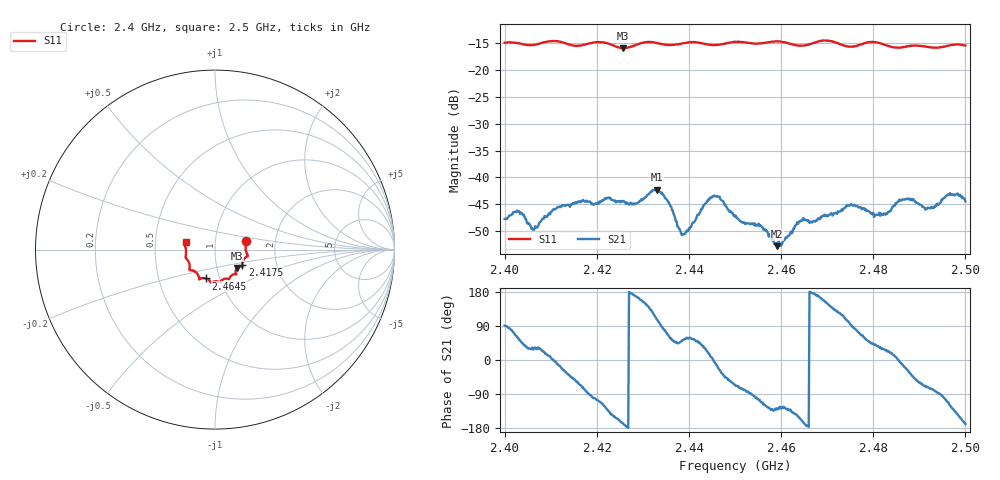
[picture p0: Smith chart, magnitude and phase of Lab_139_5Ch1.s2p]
# Hz S RI R 50
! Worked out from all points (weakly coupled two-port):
!   601 points, 2.4 GHz to 2.5 GHz, reference 50 ohm
!   highest |S21| = -42.30 dB at 2.433 GHz (marker M1); lowest = -52.8 dB at 2.4592 GHz (marker M2)
!   lowest |S11| = -15.9 dB at 2.4257 GHz (marker M3), VSWR 1.38, Z = 62.5 - j13.1 ohm
!   |S11| at or under -10 dB: start of sweep to end of sweep
!   S12 and S22 are empty: the file has one direction only
!   S11 on the Smith chart (normalised r, x): 2.4 GHz: 1.41, +0.14; 2.4175 GHz: 1.33, -0.23; 2.4645 GHz: 0.86, -0.28; 2.5 GHz: 0.72, +0.06
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2.4e9  0.1729 0.0487  -4.78e-05 0.0041  0 0  0 0
2.403167e9  0.174 0.0329  0.00293 0.00382  0 0  0 0
2.4065e9  0.1718 -0.00411  0.0028 0.00181  0 0  0 0
2.411e9  0.1829 -0.0351  0.00505 -0.000434  0 0  0 0
2.416667e9  0.1526 -0.0742  0.00222 -0.0055  0 0  0 0
2.4175e9  0.1516 -0.0834  0.00108 -0.00585  0 0  0 0
2.425667e9  0.1231 -0.1022  -0.00588 -0.00138  0 0  0 0
2.433e9  0.1149 -0.1373  -0.0023 0.00732  0 0  0 0
2.433333e9  0.1131 -0.1368  -0.00155 0.00732  0 0  0 0
2.438667e9  0.0809 -0.1579  0.00183 0.00236  0 0  0 0
2.445167e9  0.0545 -0.1622  0.00669 0.000344  0 0  0 0
2.45e9  0.029 -0.1808  0.00177 -0.00391  0 0  0 0
2.4555e9  -0.00228 -0.1771  -0.00119 -0.00339  0 0  0 0
2.459167e9  -0.0225 -0.1836  -0.0014 -0.00181  0 0  0 0
2.4645e9  -0.0514 -0.1605  -0.00376 -0.00141  0 0  0 0
2.466667e9  -0.0757 -0.1596  -0.00379 0.000178  0 0  0 0
2.474833e9  -0.1045 -0.1279  -0.000749 0.00539  0 0  0 0
2.483333e9  -0.1409 -0.0903  0.00444 0.00188  0 0  0 0
2.486833e9  -0.1542 -0.057  0.0059 -0.0021  0 0  0 0
2.491833e9  -0.1618 -0.0267  0.00161 -0.00497  0 0  0 0
2.4965e9  -0.1679 0.0238  -0.00316 -0.00611  0 0  0 0
2.5e9  -0.1638 0.0426  -0.00588 -0.00116  0 0  0 0
